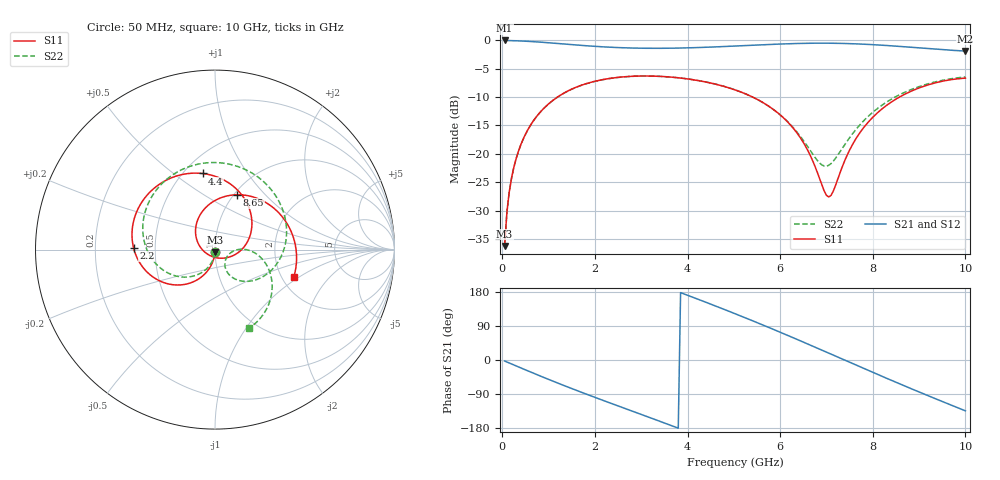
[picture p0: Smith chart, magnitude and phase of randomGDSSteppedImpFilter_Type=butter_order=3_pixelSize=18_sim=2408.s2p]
! freq	dB(S11)	phase(S11)	dB(S12)	phase(S12)
!  dB(S21)	phase(S21)	dB(S22)	phase(S22)
!S-par simulation data
#  GHz  S  DB  R 50
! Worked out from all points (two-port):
!   200 points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, 50 MHz to 10 GHz, reference 50 ohm
!   highest |S21| = 0.00 dB at 50 MHz (marker M1); lowest = -1.9 dB at 10 GHz (marker M2)
!   |S21| within 3 dB of the highest: start of sweep to end of sweep
!   lowest |S11| = -36.3 dB at 50 MHz (marker M3), VSWR 1.03, Z = 49.9 - j1.54 ohm
!   |S11| at or under -10 dB: start of sweep to 1.19 GHz; 5.409 GHz to 8.574 GHz (3.165 GHz wide, 45.3 % of centre)
!   |S22| runs from -36.3 to -6.3 dB; largest |S21 - S12| = 0
!   S11 on the Smith chart (normalised r, x): 50 MHz: 1.00, -0.03; 2.2 GHz: 0.38, +0.01; 4.4 GHz: 0.62, +0.64; 8.65 GHz: 1.03, +0.71; 10 GHz: 2.32, -0.90
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0.05  -36.26 -92.2  -0.00 -2.6  -0.00 -2.6  -36.28 -92.8
0.1  -30.25 -94.6  -0.01 -5.3  -0.01 -5.3  -30.26 -96.0
0.2  -24.26 -99.3  -0.03 -10.5  -0.03 -10.5  -24.28 -102.3
0.5  -16.54 -112.9  -0.13 -26.0  -0.13 -26.0  -16.57 -120.2
1.1  -10.52 -138.7  -0.47 -56.2  -0.47 -56.2  -10.53 -154.9
1.75  -7.79 -164.5  -0.90 -87.1  -0.90 -87.1  -7.80 169.0
2.2  -6.86 178.8  -1.14 -107.7  -1.14 -107.7  -6.87 144.6
2.85  -6.31 155.6  -1.35 -136.9  -1.35 -136.9  -6.31 109.5
3.4  -6.33 136.1  -1.39 -161.7  -1.39 -161.7  -6.33 79.7
3.9  -6.68 118.2  -1.33 175.5  -1.33 175.5  -6.68 52.5
4.4  -7.34 99.3  -1.21 152.2  -1.21 152.2  -7.33 25.4
5.05  -8.78 72.6  -0.98 121.0  -0.98 121.0  -8.78 -8.7
5.5  -10.37 51.7  -0.81 98.8  -0.81 98.8  -10.38 -30.7
5.9  -12.46 30.9  -0.67 78.5  -0.67 78.5  -12.46 -47.8
6.7  -21.18 -29.2  -0.49 36.7  -0.49 36.7  -20.01 -56.6
7  -27.31 -92.7  -0.48 20.7  -0.48 20.7  -22.17 -29.3
7.1  -27.32 -128.3  -0.49 15.4  -0.49 15.4  -21.71 -18.2
7.65  -17.15 141.0  -0.61 -14.0  -0.61 -14.0  -15.56 0.4
8.35  -11.15 88.7  -0.92 -50.9  -0.92 -50.9  -10.61 -15.8
8.65  -9.66 68.3  -1.09 -66.5  -1.09 -66.5  -9.29 -24.9
9.3  -7.59 25.7  -1.50 -99.5  -1.50 -99.5  -7.41 -45.2
10  -6.65 -19.1  -1.87 -134.1  -1.87 -134.1  -6.45 -66.3
